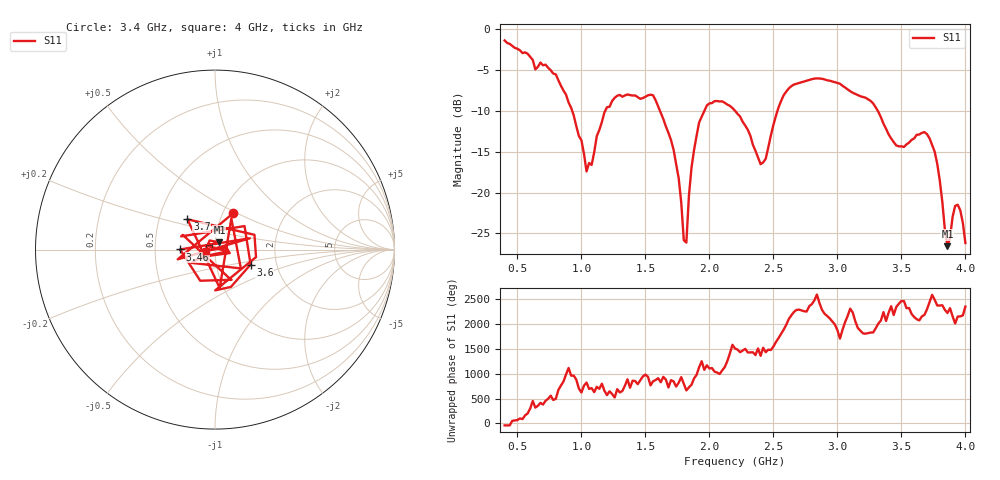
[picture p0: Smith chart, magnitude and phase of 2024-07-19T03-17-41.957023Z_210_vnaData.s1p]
!Created with skrf (http://scikit-rf.org).
# Hz S RI R 50.0
!freq ReS11 ImS11
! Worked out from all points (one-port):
!   181 points, 400 MHz to 4 GHz, reference 50 ohm
!   lowest |S11| = -26.6 dB at 3.86 GHz (marker M1), VSWR 1.10, Z = 52.3 + j4.21 ohm
!   |S11| at or under -10 dB: 1.615 GHz to 1.96 GHz (345.2 MHz wide, 19.3 % of centre); 2.202 GHz to 2.531 GHz (329.9 MHz wide, 13.9 % of centre); 3.316 GHz to end of sweep (the widest 3 of 4)
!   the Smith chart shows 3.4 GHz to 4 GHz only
!   S11 on the Smith chart (normalised r, x): 3.4 GHz: 1.12, +0.48; 3.46 GHz: 0.67, +0.00; 3.6 GHz: 1.47, -0.26; 3.7 GHz: 0.70, +0.25; 4 GHz: 0.91, -0.01
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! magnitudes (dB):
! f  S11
! 400 MHz  -1.4
! 860 MHz  -7.5
! 1.04 GHz  -17.4
! 1.18 GHz  -10.2
! 1.3 GHz  -8.0
! 1.56 GHz  -8.1
! 1.7 GHz  -13.6
! 1.76 GHz  -18.2
! 1.8 GHz  -25.8
! 1.82 GHz  -26.1
! 1.86 GHz  -17.0
! 1.92 GHz  -11.4
! 2.04 GHz  -8.8
! 2.2 GHz  -10.0
! 2.4 GHz  -16.5
! 2.56 GHz  -8.8
! 2.66 GHz  -6.8
! 3.1 GHz  -7.6
! 3.28 GHz  -9.1
! 3.4 GHz  -12.9
! 3.46 GHz  -14.2
! 3.56 GHz  -13.9
! 3.6 GHz  -13.4
! 3.7 GHz  -12.8
! 3.78 GHz  -16.5
! 3.86 GHz  -26.6
! 3.94 GHz  -21.5
! 4 GHz  -26.2
